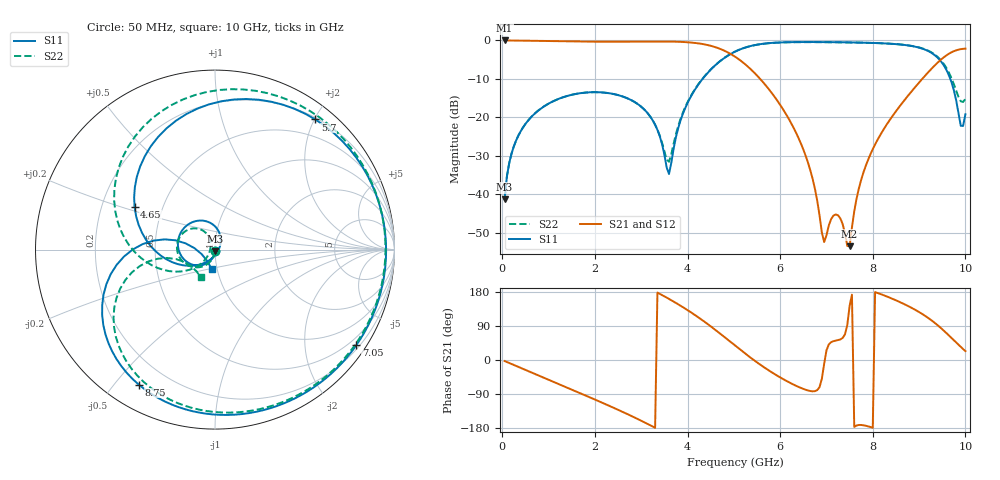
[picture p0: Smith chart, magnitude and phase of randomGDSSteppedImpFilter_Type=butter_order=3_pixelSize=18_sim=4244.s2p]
! freq	dB(S11)	phase(S11)	dB(S12)	phase(S12)
!  dB(S21)	phase(S21)	dB(S22)	phase(S22)
!S-par simulation data
#  GHz  S  DB  R 50
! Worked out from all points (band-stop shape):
!   200 points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, 50 MHz to 10 GHz, reference 50 ohm
!   highest |S21| = -0.01 dB at 50 MHz (marker M1); lowest = -53.4 dB at 7.5 GHz (marker M2)
!   |S21| within 3 dB of the highest: start of sweep to 4.854 GHz; 9.713 GHz to end of sweep
!   lowest |S11| = -41.2 dB at 50 MHz (marker M3), VSWR 1.02, Z = 50 - j0.867 ohm
!   |S11| at or under -10 dB: start of sweep to 4.325 GHz; 9.674 GHz to end of sweep
!   |S22| runs from -41.2 to -0.4 dB; largest |S21 - S12| = 0
!   S11 on the Smith chart (normalised r, x): 50 MHz: 1.00, -0.02; 4.65 GHz: 0.35, +0.22; 5.7 GHz: 0.22, +2.01; 7.05 GHz: 0.29, -3.24; 8.75 GHz: 0.10, -0.58; 10 GHz: 0.94, -0.21
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0.05  -41.22 -92.1  -0.01 -2.7  -0.01 -2.7  -41.21 -91.8
0.2  -29.37 -101.2  -0.02 -10.5  -0.02 -10.5  -29.36 -99.9
0.5  -21.68 -118.4  -0.06 -26.2  -0.06 -26.2  -21.68 -115.0
1.75  -13.60 171.6  -0.30 -91.1  -0.30 -91.1  -13.60 -175.4
2.85  -15.93 104.4  -0.30 -151.3  -0.30 -151.3  -15.95 132.1
3.4  -24.86 55.7  -0.27 174.7  -0.27 174.7  -24.71 117.9
3.6  -34.68 -37.1  -0.29 161.2  -0.29 161.2  -31.49 178.7
3.95  -17.57 -139.1  -0.43 135.6  -0.43 135.6  -17.31 -136.8
4.65  -5.90 152.1  -1.95 74.8  -1.95 74.8  -5.87 172.6
5.05  -2.76 111.8  -4.41 35.8  -4.41 35.8  -2.76 134.9
5.7  -0.77 52.4  -11.83 -23.1  -11.83 -23.1  -0.79 75.7
6.7  -0.41 -15.0  -35.89 -82.6  -35.89 -82.6  -0.44 3.4
6.95  -0.43 -28.8  -52.35 -10.4  -52.35 -10.4  -0.46 -11.9
7.05  -0.44 -34.1  -48.08 41.0  -48.08 41.0  -0.47 -17.7
7.25  -0.47 -44.3  -45.41 52.3  -45.41 52.3  -0.49 -29.1
7.5  -0.51 -56.7  -53.42 142.6  -53.42 142.6  -0.53 -42.8
7.8  -0.58 -71.1  -34.24 -172.3  -34.24 -172.3  -0.59 -58.7
8.35  -0.83 -97.9  -20.94 165.3  -20.94 165.3  -0.83 -87.3
8.75  -1.27 -119.5  -14.52 143.2  -14.52 143.2  -1.25 -109.4
9.35  -3.94 -162.3  -6.35 96.9  -6.35 96.9  -3.77 -150.0
9.9  -22.16 -160.6  -2.27 34.5  -2.27 34.5  -15.79 -145.5
10  -19.17 -100.0  -2.13 23.4  -2.13 23.4  -15.21 -117.3
